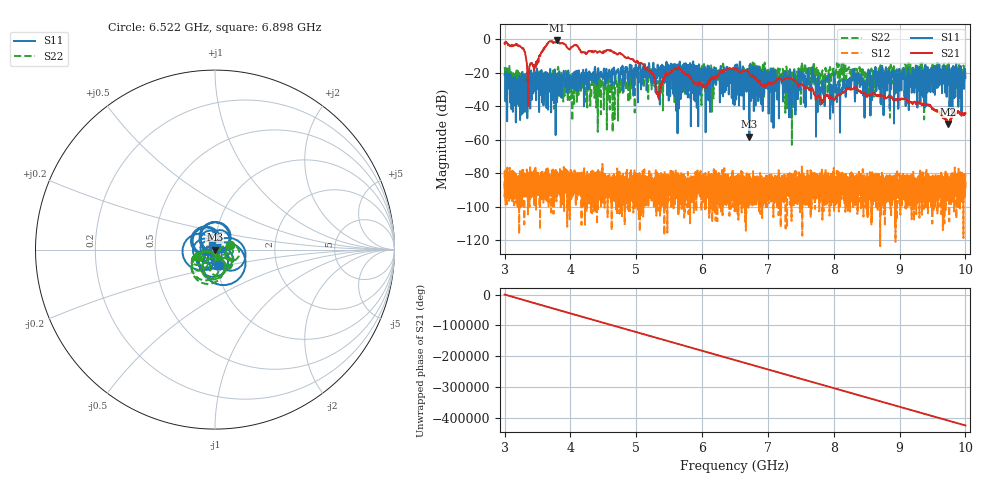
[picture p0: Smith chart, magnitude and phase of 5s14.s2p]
!Agilent Technologies,E8363B,MY43030572,A.06.04.32
!Agilent E8363B: A.06.04.32
!Date: Tuesday, June 07, 2011 08:19:22
!Correction: S11(Full 2 Port(1,2)) S21(Full 2 Port(1,2)) S12(Full 2 Port(1,2)) S22(Full 2 Port(1,2))
!S2P File: Measurements: S11, S21, S12, S22:
# Hz S  dB  R 50
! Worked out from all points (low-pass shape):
!   6401 points, 3 GHz to 10 GHz, reference 50 ohm
!   highest |S21| = -0.88 dB at 3.8 GHz (marker M1); lowest = -50.7 dB at 9.731 GHz (marker M2)
!   |S21| within 3 dB of the highest: start of sweep to 3.071 GHz; 3.631 GHz to 3.934 GHz (303.2 MHz wide, 8.02 % of centre)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
!   lowest |S11| = -58.3 dB at 6.718 GHz (marker M3), VSWR 1.00, Z = 49.9 - j0.0596 ohm
!   |S11| at or under -10 dB: start of sweep to end of sweep
!   |S22| runs from -63.1 to -13.9 dB; largest |S21 - S12| = 0.9
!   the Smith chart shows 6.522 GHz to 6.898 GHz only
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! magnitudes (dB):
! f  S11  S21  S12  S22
! 3 GHz  -21.3  -2.4  -78.7  -16.7
! 3.275 GHz  -24.2  -5.6  -82.0  -19.5
! 3.374 GHz  -25.8  -17.6  -80.8  -27.0
! 3.8 GHz  -24.7  -0.9  -93.5  -33.2
! 4.167 GHz  -21.2  -7.8  -88.1  -24.6
! 5.076 GHz  -23.3  -14.4  -91.1  -21.8
! 5.334 GHz  -19.5  -33.5  -87.9  -26.7
! 5.611 GHz  -18.2  -17.4  -81.0  -21.2
! 6.044 GHz  -17.0  -28.5  -101.5  -28.3
! 6.5 GHz  -18.6  -18.1  -83.4  -22.4
! 6.718 GHz  -58.3  -20.6  -80.7  -16.6
! 6.941 GHz  -27.4  -27.4  -83.9  -27.8
! 7.353 GHz  -35.2  -23.3  -83.0  -20.0
! 7.667 GHz  -19.5  -30.0  -90.9  -17.5
! 7.829 GHz  -24.9  -36.5  -97.6  -18.7
! 7.904 GHz  -23.4  -33.7  -86.4  -28.4
! 7.967 GHz  -27.8  -35.2  -86.6  -21.3
! 8.277 GHz  -24.0  -29.9  -84.8  -18.6
! 8.476 GHz  -26.9  -32.5  -89.0  -21.4
! 8.834 GHz  -19.2  -33.9  -89.3  -21.7
! 9.731 GHz  -21.2  -50.7  -93.0  -19.0
! 10 GHz  -23.2  -44.2  -85.1  -20.9
